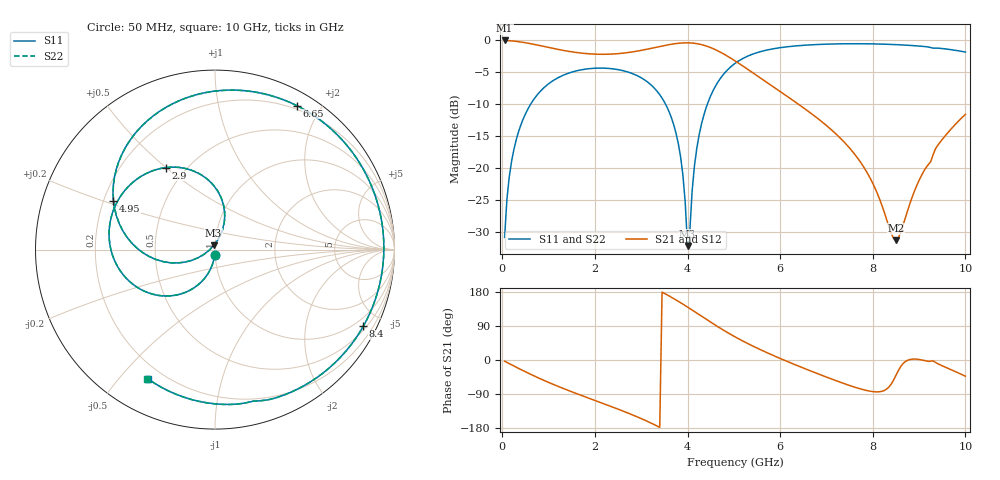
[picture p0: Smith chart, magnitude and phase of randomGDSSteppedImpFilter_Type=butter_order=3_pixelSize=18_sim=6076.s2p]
! freq	dB(S11)	phase(S11)	dB(S12)	phase(S12)
!  dB(S21)	phase(S21)	dB(S22)	phase(S22)
!S-par simulation data
#  GHz  S  DB  R 50
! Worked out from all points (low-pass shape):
!   200 points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, 50 MHz to 10 GHz, reference 50 ohm
!   highest |S21| = -0.01 dB at 50 MHz (marker M1); lowest = -31.3 dB at 8.5 GHz (marker M2)
!   |S21| within 3 dB of the highest: start of sweep to 4.984 GHz
!   lowest |S11| = -32.2 dB at 4 GHz (marker M3), VSWR 1.05, Z = 49.2 + j2.29 ohm
!   |S11| at or under -10 dB: start of sweep to 611.3 MHz; 3.526 GHz to 4.428 GHz (902.1 MHz wide, 22.7 % of centre)
!   |S22| runs from -32.4 to -0.5 dB; largest |S21 - S12| = 0
!   S11 on the Smith chart (normalised r, x): 50 MHz: 1.00, -0.06; 2.9 GHz: 0.39, +0.50; 4.95 GHz: 0.24, +0.22; 6.65 GHz: 0.16, +1.71; 8.4 GHz: 0.63, -4.02; 10 GHz: 0.14, -0.60
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0.05  -30.84 -93.3  -0.01 -3.2  -0.01 -3.2  -30.84 -93.3
0.2  -18.95 -103.2  -0.08 -12.7  -0.08 -12.7  -18.95 -103.2
0.5  -11.50 -121.6  -0.36 -31.1  -0.36 -31.1  -11.50 -121.7
1.75  -4.55 174.2  -2.02 -95.4  -2.02 -95.4  -4.55 174.1
2.9  -5.47 121.0  -1.69 -149.3  -1.69 -149.3  -5.47 120.8
3.4  -8.50 93.7  -0.95 -177.8  -0.95 -177.8  -8.50 93.5
3.8  -16.12 71.1  -0.45 154.9  -0.45 154.9  -16.12 70.7
3.9  -21.07 69.6  -0.39 147.5  -0.39 147.5  -21.08 68.9
4  -32.20 108.3  -0.38 139.7  -0.38 139.7  -32.45 107.2
4.15  -19.61 -154.3  -0.45 127.9  -0.45 127.9  -19.63 -154.0
4.3  -13.13 -160.3  -0.66 115.8  -0.66 115.8  -13.14 -160.3
4.95  -4.03 154.3  -2.85 66.3  -2.85 66.3  -4.03 154.1
5.05  -3.47 147.7  -3.32 59.5  -3.32 59.5  -3.47 147.5
5.85  -1.31 101.1  -7.26 12.0  -7.26 12.0  -1.31 100.9
6.65  -0.70 60.4  -11.32 -28.5  -11.32 -28.5  -0.70 60.2
6.7  -0.68 58.0  -11.60 -30.9  -11.60 -30.9  -0.68 57.7
7.55  -0.52 15.9  -17.28 -69.3  -17.28 -69.3  -0.52 15.6
8.35  -0.62 -24.8  -29.18 -71.2  -29.18 -71.2  -0.62 -25.0
8.4  -0.63 -27.4  -30.22 -63.3  -30.22 -63.3  -0.63 -27.6
8.5  -0.66 -32.6  -31.26 -40.6  -31.26 -40.6  -0.66 -32.8
9.2  -1.04 -70.6  -19.43 -3.6  -19.43 -3.6  -1.04 -70.8
10  -1.82 -117.6  -11.57 -42.8  -11.57 -42.8  -1.82 -117.7
